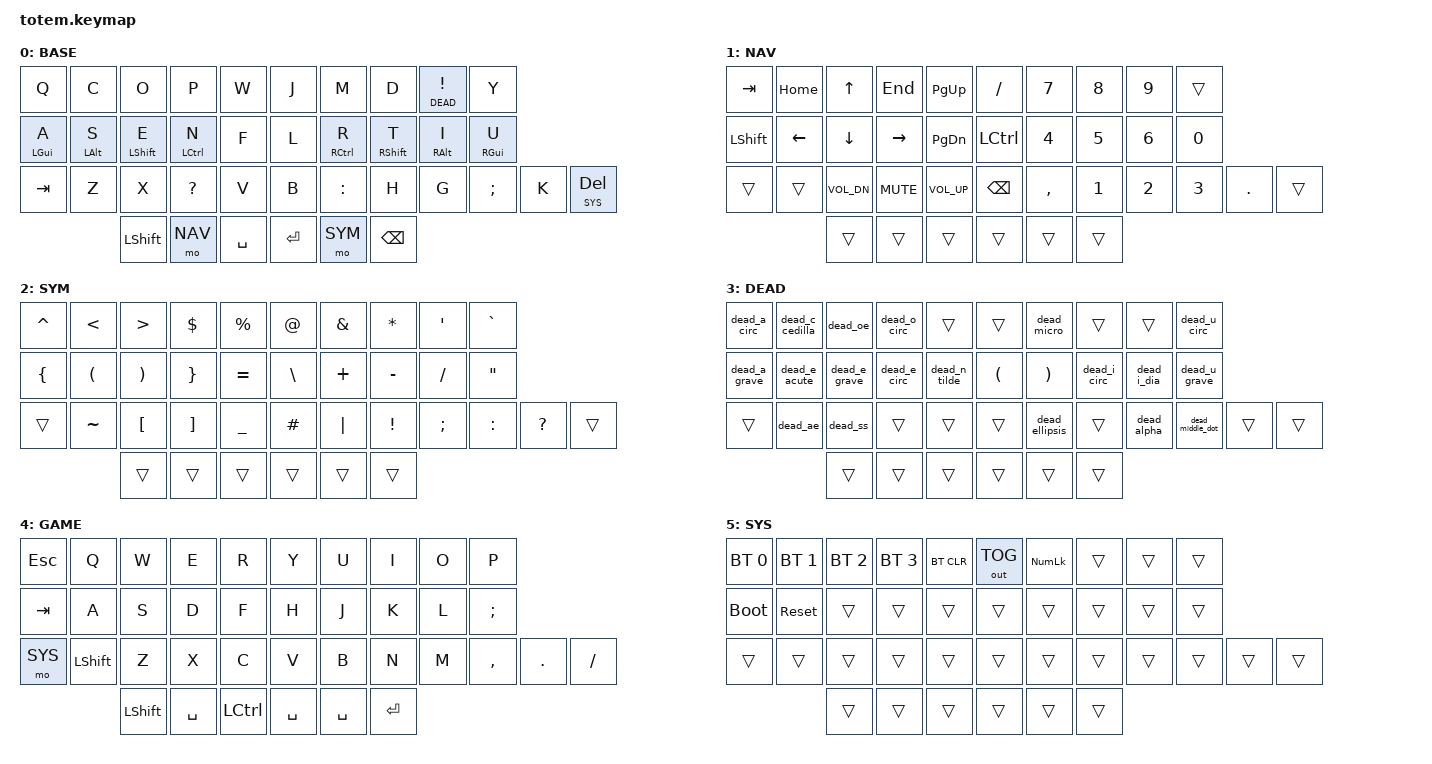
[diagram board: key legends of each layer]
#include <behaviors.dtsi>
#include <dt-bindings/zmk/bt.h>
#include <dt-bindings/zmk/keys.h>
#include <dt-bindings/zmk/outputs.h>

#define BASE 0
#define NAV  1
#define SYM  2
#define DEAD 3
#define GAME 4
#define SYS  5

&mt {
    flavor = "tap-preferred";
    tapping-term-ms = <200>;
};

&lt {
    flavor = "tap-preferred";
    tapping-term-ms = <200>;
};

/ {
    behaviors {
        star_lt: star_layer_tap {
            compatible = "zmk,behavior-hold-tap";
            #binding-cells = <2>;
            flavor = "hold-preferred";
            tapping-term-ms = <200>;
            bindings = <&mo>, <&kp>;
        };
    };

    macros {
        /*
         * DEAD layer glyphs are firmware-side Windows Alt-code macros.
         * They keep the host layout on English (United States) without
         * requiring an Ergo-L or US-International OS layout.
         */
        dead_a_circ: dead_a_circ {
            compatible = "zmk,behavior-macro";
            #binding-cells = <0>;
            wait-ms = <40>;
            tap-ms = <40>;
            bindings
                = <&macro_press &kp LALT>
                , <&macro_tap &kp KP_N0 &kp KP_N2 &kp KP_N2 &kp KP_N6>
                , <&macro_release &kp LALT>
                ;
        };

        dead_c_cedilla: dead_c_cedilla {
            compatible = "zmk,behavior-macro";
            #binding-cells = <0>;
            wait-ms = <40>;
            tap-ms = <40>;
            bindings
                = <&macro_press &kp LALT>
                , <&macro_tap &kp KP_N0 &kp KP_N2 &kp KP_N3 &kp KP_N1>
                , <&macro_release &kp LALT>
                ;
        };

        dead_oe: dead_oe {
            compatible = "zmk,behavior-macro";
            #binding-cells = <0>;
            wait-ms = <40>;
            tap-ms = <40>;
            bindings
                = <&macro_press &kp LALT>
                , <&macro_tap &kp KP_N0 &kp KP_N1 &kp KP_N5 &kp KP_N6>
                , <&macro_release &kp LALT>
                ;
        };

        dead_o_circ: dead_o_circ {
            compatible = "zmk,behavior-macro";
            #binding-cells = <0>;
            wait-ms = <40>;
            tap-ms = <40>;
            bindings
                = <&macro_press &kp LALT>
                , <&macro_tap &kp KP_N0 &kp KP_N2 &kp KP_N4 &kp KP_N4>
                , <&macro_release &kp LALT>
                ;
        };

        dead_a_grave: dead_a_grave {
            compatible = "zmk,behavior-macro";
            #binding-cells = <0>;
            wait-ms = <40>;
            tap-ms = <40>;
            bindings
                = <&macro_press &kp LALT>
                , <&macro_tap &kp KP_N0 &kp KP_N2 &kp KP_N2 &kp KP_N4>
                , <&macro_release &kp LALT>
                ;
        };

        dead_e_acute: dead_e_acute {
            compatible = "zmk,behavior-macro";
            #binding-cells = <0>;
            wait-ms = <40>;
            tap-ms = <40>;
            bindings
                = <&macro_press &kp LALT>
                , <&macro_tap &kp KP_N0 &kp KP_N2 &kp KP_N3 &kp KP_N3>
                , <&macro_release &kp LALT>
                ;
        };

        dead_e_grave: dead_e_grave {
            compatible = "zmk,behavior-macro";
            #binding-cells = <0>;
            wait-ms = <40>;
            tap-ms = <40>;
            bindings
                = <&macro_press &kp LALT>
                , <&macro_tap &kp KP_N0 &kp KP_N2 &kp KP_N3 &kp KP_N2>
                , <&macro_release &kp LALT>
                ;
        };

        dead_e_circ: dead_e_circ {
            compatible = "zmk,behavior-macro";
            #binding-cells = <0>;
            wait-ms = <40>;
            tap-ms = <40>;
            bindings
                = <&macro_press &kp LALT>
                , <&macro_tap &kp KP_N0 &kp KP_N2 &kp KP_N3 &kp KP_N4>
                , <&macro_release &kp LALT>
                ;
        };

        dead_n_tilde: dead_n_tilde {
            compatible = "zmk,behavior-macro";
            #binding-cells = <0>;
            wait-ms = <40>;
            tap-ms = <40>;
            bindings
                = <&macro_press &kp LALT>
                , <&macro_tap &kp KP_N0 &kp KP_N2 &kp KP_N4 &kp KP_N1>
                , <&macro_release &kp LALT>
                ;
        };

        dead_ae: dead_ae {
            compatible = "zmk,behavior-macro";
            #binding-cells = <0>;
            wait-ms = <40>;
            tap-ms = <40>;
            bindings
                = <&macro_press &kp LALT>
                , <&macro_tap &kp KP_N0 &kp KP_N2 &kp KP_N3 &kp KP_N0>
                , <&macro_release &kp LALT>
                ;
        };

        dead_ss: dead_ss {
            compatible = "zmk,behavior-macro";
            #binding-cells = <0>;
            wait-ms = <40>;
            tap-ms = <40>;
            bindings
                = <&macro_press &kp LALT>
                , <&macro_tap &kp KP_N0 &kp KP_N2 &kp KP_N2 &kp KP_N3>
                , <&macro_release &kp LALT>
                ;
        };

        dead_micro: dead_micro {
            compatible = "zmk,behavior-macro";
            #binding-cells = <0>;
            wait-ms = <40>;
            tap-ms = <40>;
            bindings
                = <&macro_press &kp LALT>
                , <&macro_tap &kp KP_N0 &kp KP_N1 &kp KP_N8 &kp KP_N1>
                , <&macro_release &kp LALT>
                ;
        };

        dead_u_circ: dead_u_circ {
            compatible = "zmk,behavior-macro";
            #binding-cells = <0>;
            wait-ms = <40>;
            tap-ms = <40>;
            bindings
                = <&macro_press &kp LALT>
                , <&macro_tap &kp KP_N0 &kp KP_N2 &kp KP_N5 &kp KP_N1>
                , <&macro_release &kp LALT>
                ;
        };

        dead_i_circ: dead_i_circ {
            compatible = "zmk,behavior-macro";
            #binding-cells = <0>;
            wait-ms = <40>;
            tap-ms = <40>;
            bindings
                = <&macro_press &kp LALT>
                , <&macro_tap &kp KP_N0 &kp KP_N2 &kp KP_N3 &kp KP_N8>
                , <&macro_release &kp LALT>
                ;
        };

        dead_i_dia: dead_i_dia {
            compatible = "zmk,behavior-macro";
            #binding-cells = <0>;
            wait-ms = <40>;
            tap-ms = <40>;
            bindings
                = <&macro_press &kp LALT>
                , <&macro_tap &kp KP_N0 &kp KP_N2 &kp KP_N3 &kp KP_N9>
                , <&macro_release &kp LALT>
                ;
        };

        dead_u_grave: dead_u_grave {
            compatible = "zmk,behavior-macro";
            #binding-cells = <0>;
            wait-ms = <40>;
            tap-ms = <40>;
            bindings
                = <&macro_press &kp LALT>
                , <&macro_tap &kp KP_N0 &kp KP_N2 &kp KP_N4 &kp KP_N9>
                , <&macro_release &kp LALT>
                ;
        };

        dead_ellipsis: dead_ellipsis {
            compatible = "zmk,behavior-macro";
            #binding-cells = <0>;
            wait-ms = <40>;
            tap-ms = <40>;
            bindings
                = <&macro_press &kp LALT>
                , <&macro_tap &kp KP_N0 &kp KP_N1 &kp KP_N3 &kp KP_N3>
                , <&macro_release &kp LALT>
                ;
        };

        dead_alpha: dead_alpha {
            compatible = "zmk,behavior-macro";
            #binding-cells = <0>;
            wait-ms = <40>;
            tap-ms = <40>;
            bindings
                = <&macro_press &kp LALT>
                , <&macro_tap &kp KP_N2 &kp KP_N2 &kp KP_N4>
                , <&macro_release &kp LALT>
                ;
        };

        dead_middle_dot: dead_middle_dot {
            compatible = "zmk,behavior-macro";
            #binding-cells = <0>;
            wait-ms = <40>;
            tap-ms = <40>;
            bindings
                = <&macro_press &kp LALT>
                , <&macro_tap &kp KP_N0 &kp KP_N1 &kp KP_N8 &kp KP_N3>
                , <&macro_release &kp LALT>
                ;
        };
    };

    combos {
        compatible = "zmk,combos";

        combo_game_toggle {
            timeout-ms = <140>;
            key-positions = <20 31>;
            bindings = <&tog GAME>;
            layers = <BASE GAME>;
        };
    };

    keymap {
        compatible = "zmk,keymap";

        base_layer {
            label = "BASE";
            bindings = <
                &kp Q           &kp C           &kp O           &kp P           &kp W           &kp J           &kp M           &kp D           &star_lt DEAD EXCL &kp Y
                &mt LGUI A      &mt LALT S      &mt LSHFT E     &mt LCTRL N     &kp F           &kp L           &mt RCTRL R     &mt RSHFT T     &mt RALT I      &mt RGUI U
                &kp TAB         &kp Z           &kp X           &kp QMARK       &kp V           &kp B           &kp COLON       &kp H           &kp G           &kp SEMI        &kp K           &lt SYS DEL
                                                &kp LSHFT       &mo NAV         &kp SPACE       &kp RET         &mo SYM         &kp BSPC
            >;
        };

        nav_layer {
            label = "NAV";
            bindings = <
                &kp TAB         &kp HOME        &kp UP          &kp END         &kp PG_UP       &kp FSLH        &kp N7          &kp N8          &kp N9          &trans
                &kp LSHFT       &kp LEFT        &kp DOWN        &kp RIGHT       &kp PG_DN       &kp LCTRL       &kp N4          &kp N5          &kp N6          &kp N0
                &trans          &trans          &kp C_VOL_DN    &kp C_MUTE      &kp C_VOL_UP    &kp BSPC        &kp COMMA       &kp N1          &kp N2          &kp N3          &kp DOT         &trans
                                                &trans          &trans          &trans          &trans          &trans          &trans
            >;
        };

        sym_layer {
            label = "SYM";
            bindings = <
                &kp CARET       &kp LT          &kp GT          &kp DLLR        &kp PRCNT       &kp AT          &kp AMPS        &kp STAR        &kp SQT         &kp GRAVE
                &kp LBRC        &kp LPAR        &kp RPAR        &kp RBRC        &kp EQUAL       &kp BSLH        &kp PLUS        &kp MINUS       &kp FSLH        &kp DQT
                &trans          &kp TILDE       &kp LBKT        &kp RBKT        &kp UNDER       &kp HASH        &kp PIPE        &kp EXCL        &kp SEMI        &kp COLON       &kp QMARK       &trans
                                                &trans          &trans          &trans          &trans          &trans          &trans
            >;
        };

        dead_layer {
            label = "DEAD";
            bindings = <
                &dead_a_circ    &dead_c_cedilla &dead_oe        &dead_o_circ    &trans          &trans          &dead_micro     &trans          &trans          &dead_u_circ
                &dead_a_grave   &dead_e_acute   &dead_e_grave   &dead_e_circ    &dead_n_tilde   &kp LPAR        &kp RPAR        &dead_i_circ    &dead_i_dia     &dead_u_grave
                &trans          &dead_ae        &dead_ss        &trans          &trans          &trans          &dead_ellipsis  &trans          &dead_alpha     &dead_middle_dot &trans         &trans
                                                &trans          &trans          &trans          &trans          &trans          &trans
            >;
        };

        game_layer {
            label = "GAME";
            bindings = <
                &kp ESC         &kp Q           &kp W           &kp E           &kp R           &kp Y           &kp U           &kp I           &kp O           &kp P
                &kp TAB         &kp A           &kp S           &kp D           &kp F           &kp H           &kp J           &kp K           &kp L           &kp SEMI
                &mo SYS         &kp LSHFT       &kp Z           &kp X           &kp C           &kp V           &kp B           &kp N           &kp M           &kp COMMA       &kp DOT         &kp FSLH
                                                &kp LSHFT       &kp SPACE       &kp LCTRL       &kp SPACE       &kp SPACE       &kp RET
            >;
        };

        sys_layer {
            label = "SYS";
            bindings = <
                &bt BT_SEL 0    &bt BT_SEL 1    &bt BT_SEL 2    &bt BT_SEL 3    &bt BT_CLR      &out OUT_TOG    &kp KP_NUMLOCK  &trans          &trans          &trans
                &bootloader     &sys_reset      &trans          &trans          &trans          &trans          &trans          &trans          &trans          &trans
                &trans          &trans          &trans          &trans          &trans          &trans          &trans          &trans          &trans          &trans          &trans          &trans
                                                &trans          &trans          &trans          &trans          &trans          &trans
            >;
        };
    };
};
